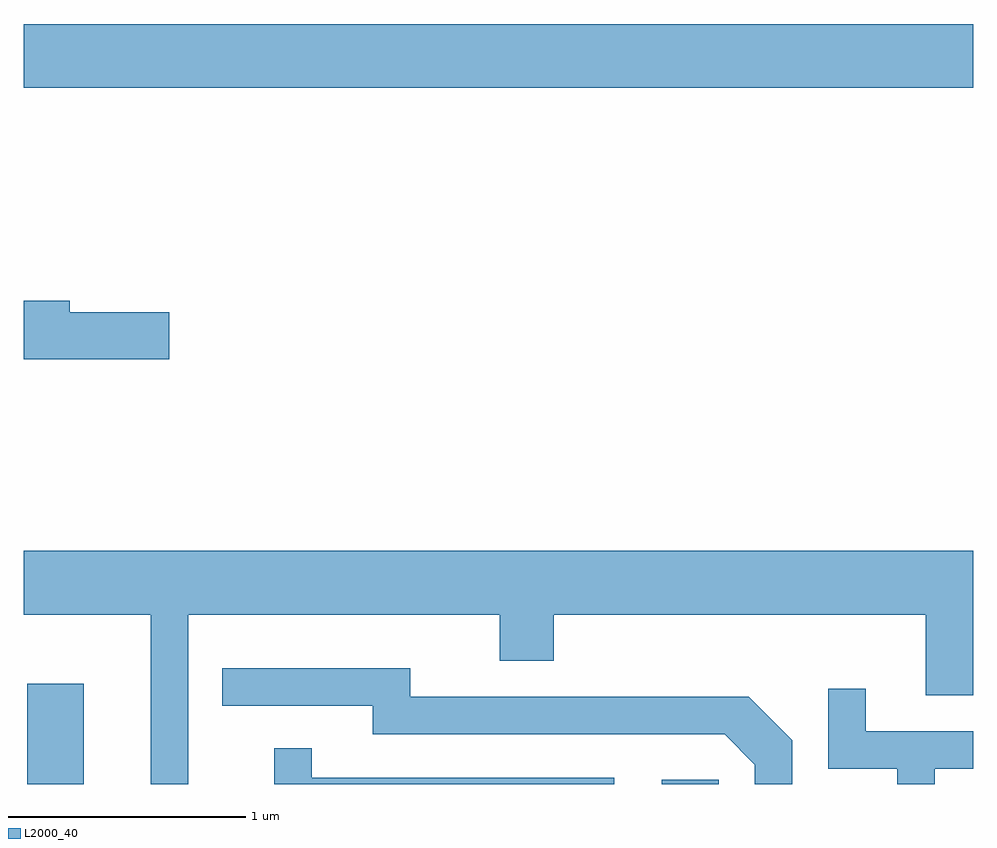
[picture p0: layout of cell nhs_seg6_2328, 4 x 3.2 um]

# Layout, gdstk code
import gdstk
lib = gdstk.Library(unit=1e-6, precision=1e-09)
def R(c, l, rs):  # rectangles x0, y0, x1, y1
    for r in rs: c.add(gdstk.rectangle(r[:2], r[2:], *l))
def P(c, l, *ps):  # polygons
    for p in ps: c.add(gdstk.Polygon(p, *l))
L2000_40 = (2000, 40)

nhs_seg6_2328 = lib.new_cell('nhs_seg6_2328')
R(nhs_seg6_2328, L2000_40, [(255.626,1598.162,255.864,1598.584), (258.298,1598.162,258.539,1598.179), (255.611,1601.096,259.611,1601.364)])
P(nhs_seg6_2328, L2000_40, [(256.224,1600.149),(255.804,1600.149),(255.804,1600.199),(255.611,1600.199),(255.611,1599.951),(256.224,1599.951)],
  [(256.304,1598.876),(257.616,1598.876),(257.616,1598.681),(257.844,1598.681),(257.844,1598.876),(259.411,1598.876),(259.411,1598.536),(259.611,1598.536),(259.611,1599.144),(255.611,1599.144),(255.611,1598.876),(256.146,1598.876),(256.146,1598.162),(256.304,1598.162)],
  [(258.849,1598.347),(258.666,1598.529),(257.239,1598.529),(257.239,1598.649),(256.448,1598.649),(256.448,1598.491),(257.081,1598.491),(257.081,1598.371),(258.564,1598.371),(258.691,1598.244),(258.691,1598.162),(258.849,1598.162)],
  [(259.449,1598.226),(259.611,1598.226),(259.611,1598.384),(259.159,1598.384),(259.159,1598.563),(259.001,1598.563),(259.001,1598.226),(259.291,1598.226),(259.291,1598.162),(259.449,1598.162)],
  [(258.098,1598.189),(256.824,1598.189),(256.824,1598.313),(256.666,1598.313),(256.666,1598.162),(258.098,1598.162)])

lib.write_gds('nhs_seg6_2328.gds')
